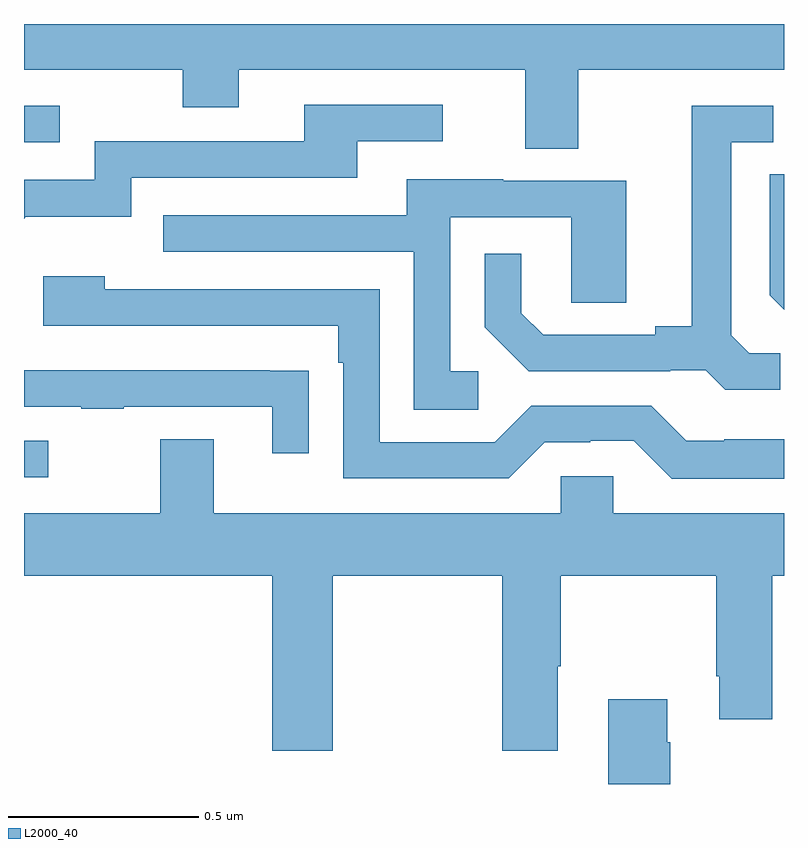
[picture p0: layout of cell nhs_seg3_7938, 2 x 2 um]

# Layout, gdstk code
import gdstk
lib = gdstk.Library(unit=1e-6, precision=1e-09)
def R(c, l, rs):  # rectangles x0, y0, x1, y1
    for r in rs: c.add(gdstk.rectangle(r[:2], r[2:], *l))
def P(c, l, *ps):  # polygons
    for p in ps: c.add(gdstk.Polygon(p, *l))
L2000_40 = (2000, 40)

nhs_seg3_7938 = lib.new_cell('nhs_seg3_7938')
R(nhs_seg3_7938, L2000_40, [(210,669.207,210.064,669.303), (210,670.089,210.094,670.185)])
P(nhs_seg3_7938, L2000_40, [(211.459,670.28),(212,670.28),(212,670.4),(210,670.4),(210,670.28),(210.418,670.28),(210.418,670.181),(210.565,670.181),(210.565,670.28),(211.319,670.28),(211.319,670.072),(211.459,670.072)],
  [(210.005,669.893),(210.282,669.893),(210.282,669.996),(210.877,669.996),(210.877,670.092),(211.102,670.092),(211.102,670.188),(210.737,670.188),(210.737,670.092),(210.186,670.092),(210.186,669.99),(210,669.99),(210,669.888)],
  [(211.99,669.534),(211.908,669.534),(211.861,669.581),(211.861,670.089),(211.972,670.089),(211.972,670.185),(211.757,670.185),(211.757,669.605),(211.661,669.605),(211.661,669.582),(211.366,669.582),(211.309,669.639),(211.309,669.796),(211.212,669.796),(211.212,669.602),(211.328,669.486),(211.7,669.486),(211.7,669.489),(211.794,669.489),(211.846,669.437),(211.99,669.437)],
  [(212,670.004),(211.962,670.004),(211.962,669.686),(212,669.648)],
  [(211.195,669.486),(211.122,669.486),(211.122,669.891),(211.44,669.891),(211.44,669.667),(211.585,669.667),(211.585,669.987),(211.261,669.987),(211.261,669.991),(211.007,669.991),(211.007,669.897),(210.367,669.897),(210.367,669.801),(211.026,669.801),(211.026,669.385),(211.195,669.385)],
  [(212,669.307),(211.843,669.307),(211.843,669.303),(211.743,669.303),(211.65,669.396),(211.335,669.396),(211.239,669.3),(210.936,669.3),(210.936,669.702),(210.212,669.702),(210.212,669.736),(210.051,669.736),(210.051,669.606),(210.827,669.606),(210.827,669.509),(210.84,669.509),(210.84,669.204),(211.275,669.204),(211.371,669.3),(211.49,669.3),(211.49,669.303),(211.605,669.303),(211.705,669.203),(212,669.203)],
  [(210.749,669.488),(210.647,669.488),(210.647,669.489),(210,669.489),(210,669.393),(210.151,669.393),(210.151,669.388),(210.263,669.388),(210.263,669.393),(210.653,669.393),(210.653,669.27),(210.749,669.27)],
  [(210.813,668.948),(211.258,668.948),(211.258,668.487),(211.405,668.487),(211.405,668.71),(211.413,668.71),(211.413,668.948),(211.822,668.948),(211.822,668.683),(211.829,668.683),(211.829,668.571),(211.969,668.571),(211.969,668.948),(212,668.948),(212,669.112),(211.551,669.112),(211.551,669.21),(211.413,669.21),(211.413,669.112),(210.499,669.112),(210.499,669.307),(210.359,669.307),(210.359,669.112),(210,669.112),(210,668.948),(210.653,668.948),(210.653,668.487),(210.813,668.487)],
  [(211.701,668.51),(211.693,668.51),(211.693,668.623),(211.538,668.623),(211.538,668.4),(211.701,668.4)])

lib.write_gds('nhs_seg3_7938.gds')
